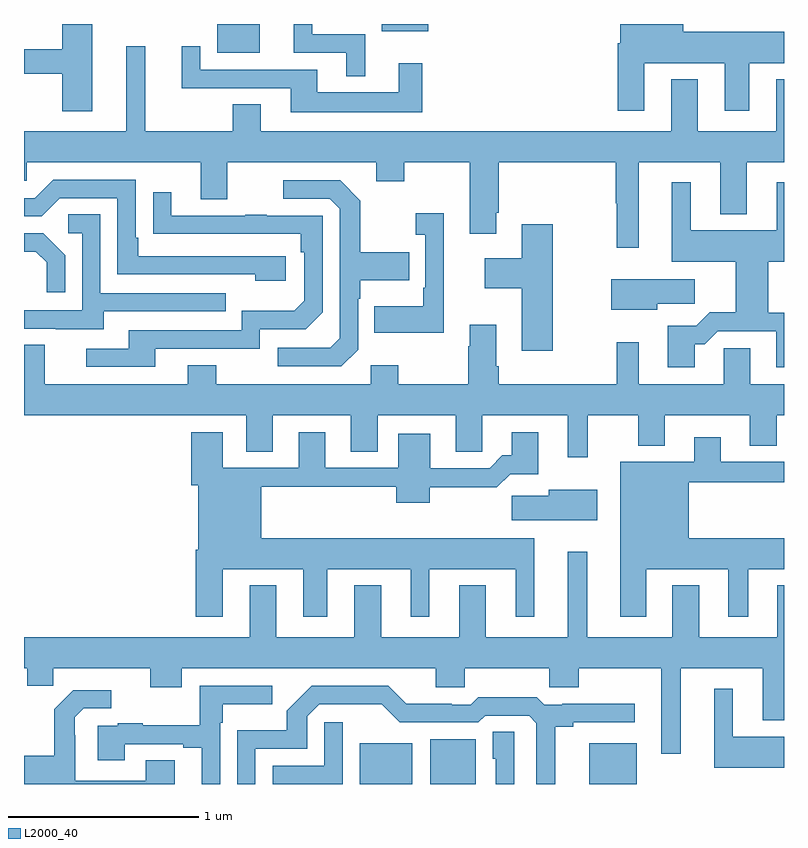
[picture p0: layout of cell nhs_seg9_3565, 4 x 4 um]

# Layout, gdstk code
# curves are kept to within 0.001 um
import gdstk
lib = gdstk.Library(unit=1e-6, precision=1e-09)
def R(c, l, rs):  # rectangles x0, y0, x1, y1
    for r in rs: c.add(gdstk.rectangle(r[:2], r[2:], *l))
def P(c, l, *ps):  # polygons
    for p in ps: c.add(gdstk.Polygon(p, *l))
L2000_40 = (2000, 40)

nhs_seg9_3565 = lib.new_cell('nhs_seg9_3565')
R(nhs_seg9_3565, L2000_40, [(316.766,1174.5,317.044,1174.714), (317.138,1174.5,317.377,1174.735), (317.975,1174.5,318.226,1174.714), (316.016,1178.348,316.24,1178.5), (316.883,1178.462,317.128,1178.5)])
P(nhs_seg9_3565, L2000_40, [(318.265,1178.294),(318.689,1178.294),(318.689,1178.043),(318.817,1178.043),(318.817,1178.294),(319,1178.294),(319,1178.458),(318.469,1178.458),(318.469,1178.5),(318.137,1178.5),(318.137,1178.398),(318.125,1178.398),(318.125,1178.043),(318.265,1178.043)],
  [(316.795,1178.445),(316.518,1178.445),(316.518,1178.5),(316.421,1178.5),(316.421,1178.349),(316.697,1178.349),(316.697,1178.225),(316.795,1178.225)],
  [(315.358,1178.5),(315.2,1178.5),(315.2,1178.366),(315,1178.366),(315,1178.238),(315.2,1178.238),(315.2,1178.04),(315.358,1178.04)],
  [(318.235,1177.772),(318.665,1177.772),(318.665,1177.499),(318.805,1177.499),(318.805,1177.772),(319,1177.772),(319,1178.209),(318.959,1178.209),(318.959,1177.936),(318.547,1177.936),(318.547,1178.209),(318.407,1178.209),(318.407,1177.936),(316.246,1177.936),(316.246,1178.078),(316.099,1178.078),(316.099,1177.936),(315.638,1177.936),(315.638,1178.383),(315.539,1178.383),(315.539,1177.936),(315,1177.936),(315,1177.674),(315.015,1177.674),(315.015,1177.772),(315.929,1177.772),(315.929,1177.578),(316.069,1177.578),(316.069,1177.772),(316.853,1177.772),(316.853,1177.673),(317.001,1177.673),(317.001,1177.772),(317.345,1177.772),(317.345,1177.395),(317.485,1177.395),(317.485,1177.507),(317.498,1177.507),(317.498,1177.772),(318.114,1177.772),(318.114,1177.556),(318.121,1177.556),(318.121,1177.323),(318.235,1177.323)],
  [(317.095,1178.293),(316.973,1178.293),(316.973,1178.14),(316.543,1178.14),(316.543,1178.259),(315.927,1178.259),(315.927,1178.383),(315.83,1178.383),(315.83,1178.163),(316.403,1178.163),(316.403,1178.036),(317.095,1178.036)],
  [(316.378,1177.278),(315.601,1177.278),(315.601,1177.375),(315.588,1177.375),(315.588,1177.68),(315.153,1177.68),(315.057,1177.584),(315,1177.584),(315,1177.488),(315.093,1177.488),(315.189,1177.584),(315.492,1177.584),(315.492,1177.182),(316.217,1177.182),(316.217,1177.148),(316.378,1177.148)],
  [(316.758,1176.786),(316.758,1177.055),(316.771,1177.055),(316.771,1177.151),(317.027,1177.151),(317.027,1177.299),(316.771,1177.299),(316.771,1177.571),(316.665,1177.677),(316.365,1177.677),(316.365,1177.581),(316.608,1177.581),(316.662,1177.527),(316.662,1176.846),(316.611,1176.795),(316.335,1176.795),(316.335,1176.699),(316.671,1176.699)],
  [(318.529,1176.815),(318.584,1176.815),(318.651,1176.882),(318.959,1176.882),(318.959,1176.693),(319,1176.693),(319,1176.98),(318.917,1176.98),(318.917,1177.25),(319,1177.25),(319,1177.666),(318.962,1177.666),(318.962,1177.414),(318.508,1177.414),(318.508,1177.666),(318.41,1177.666),(318.41,1177.25),(318.746,1177.25),(318.746,1176.983),(318.608,1176.983),(318.538,1176.913),(318.389,1176.913),(318.389,1176.693),(318.529,1176.693)],
  [(315.691,1176.792),(316.242,1176.792),(316.242,1176.894),(316.482,1176.894),(316.572,1176.984),(316.572,1177.491),(316.277,1177.491),(316.277,1177.496),(316.165,1177.496),(316.165,1177.491),(315.775,1177.491),(315.775,1177.615),(315.679,1177.615),(315.679,1177.396),(316.456,1177.395),(316.456,1177.298),(316.476,1177.298),(316.476,1177.044),(316.423,1176.991),(316.146,1176.991),(316.146,1176.888),(315.551,1176.888),(315.551,1176.792),(315.327,1176.792),(315.327,1176.696),(315.691,1176.696)],
  [(317.21,1177.504),(317.061,1177.504),(317.061,1177.391),(317.112,1177.391),(317.112,1177.111),(317.1,1177.111),(317.1,1177.015),(316.843,1177.015),(316.843,1176.875),(317.21,1176.875)],
  [(315.421,1176.987),(316.061,1176.987),(316.061,1177.083),(315.402,1177.083),(315.402,1177.499),(315.234,1177.499),(315.234,1177.398),(315.306,1177.398),(315.306,1176.993),(315,1176.993),(315,1176.897),(315.167,1176.897),(315.167,1176.893),(315.421,1176.893)],
  [(317.784,1177.447),(317.621,1177.447),(317.621,1177.267),(317.424,1177.267),(317.424,1177.109),(317.621,1177.109),(317.621,1176.78),(317.784,1176.78)],
  [(315.216,1177.282),(315.1,1177.398),(315,1177.398),(315,1177.302),(315.062,1177.302),(315.119,1177.245),(315.119,1177.089),(315.216,1177.089)],
  [(318.334,1177.027),(318.529,1177.027),(318.529,1177.156),(318.09,1177.156),(318.09,1176.995),(318.334,1176.995)],
  [(317.968,1176.44),(318.233,1176.44),(318.233,1176.281),(318.373,1176.281),(318.373,1176.44),(318.821,1176.44),(318.821,1176.28),(318.961,1176.28),(318.961,1176.44),(319,1176.44),(319,1176.604),(318.823,1176.604),(318.823,1176.794),(318.684,1176.794),(318.684,1176.604),(318.235,1176.604),(318.235,1176.826),(318.121,1176.826),(318.121,1176.604),(317.498,1176.604),(317.498,1176.7),(317.485,1176.7),(317.485,1176.916),(317.345,1176.916),(317.345,1176.803),(317.338,1176.803),(317.338,1176.604),(316.971,1176.604),(316.971,1176.703),(316.824,1176.703),(316.824,1176.604),(316.011,1176.604),(316.011,1176.703),(315.863,1176.703),(315.863,1176.604),(315.109,1176.604),(315.109,1176.812),(315,1176.812),(315,1176.44),(316.169,1176.44),(316.169,1176.25),(316.309,1176.25),(316.309,1176.44),(316.721,1176.44),(316.721,1176.25),(316.861,1176.25),(316.861,1176.44),(317.273,1176.44),(317.273,1176.25),(317.412,1176.25),(317.412,1176.44),(317.861,1176.44),(317.861,1176.219),(317.968,1176.219)],
  [(316.045,1175.63),(316.469,1175.63),(316.469,1175.379),(316.597,1175.379),(316.597,1175.63),(317.036,1175.63),(317.036,1175.379),(317.134,1175.379),(317.134,1175.63),(317.588,1175.63),(317.588,1175.379),(317.686,1175.379),(317.686,1175.794),(316.249,1175.794),(316.249,1176.064),(316.958,1176.064),(316.958,1175.981),(317.136,1175.981),(317.136,1176.062),(317.489,1176.062),(317.558,1176.131),(317.707,1176.131),(317.707,1176.352),(317.567,1176.352),(317.567,1176.229),(317.518,1176.229),(317.451,1176.162),(317.137,1176.162),(317.137,1176.343),(316.97,1176.343),(316.97,1176.165),(316.585,1176.165),(316.585,1176.352),(316.445,1176.352),(316.445,1176.165),(316.045,1176.165),(316.045,1176.352),(315.881,1176.352),(315.881,1176.072),(315.917,1176.072),(315.917,1175.734),(315.905,1175.734),(315.905,1175.379),(316.045,1175.379)],
  [(318.274,1175.63),(318.707,1175.63),(318.707,1175.379),(318.811,1175.379),(318.811,1175.63),(319,1175.63),(319,1175.794),(318.499,1175.794),(318.499,1176.087),(319,1176.087),(319,1176.195),(318.667,1176.195),(318.667,1176.325),(318.527,1176.325),(318.527,1176.196),(318.137,1176.196),(318.137,1175.379),(318.274,1175.379)],
  [(318.016,1176.049),(317.762,1176.049),(317.762,1176.017),(317.568,1176.017),(317.568,1175.888),(318.016,1175.888)],
  [(316.879,1175.545),(316.739,1175.545),(316.739,1175.272),(316.327,1175.272),(316.327,1175.545),(316.187,1175.545),(316.187,1175.272),(315,1175.272),(315,1175.108),(315.017,1175.108),(315.017,1175.018),(315.155,1175.018),(315.155,1175.108),(315.665,1175.108),(315.665,1175.009),(315.829,1175.009),(315.829,1175.108),(317.168,1175.108),(317.168,1175.01),(317.319,1175.01),(317.319,1175.108),(317.764,1175.108),(317.764,1175.01),(317.919,1175.01),(317.919,1175.108),(318.353,1175.108),(318.353,1174.659),(318.457,1174.659),(318.457,1175.108),(318.887,1175.108),(318.887,1174.835),(319,1174.835),(319,1175.545),(318.965,1175.545),(318.965,1175.272),(318.553,1175.272),(318.553,1175.545),(318.413,1175.545),(318.413,1175.272),(317.965,1175.272),(317.965,1175.722),(317.861,1175.722),(317.861,1175.272),(317.431,1175.272),(317.431,1175.545),(317.291,1175.545),(317.291,1175.272),(316.879,1175.272)],
  [(316.032,1174.823),(316.045,1174.823),(316.045,1174.919),(316.306,1174.919),(316.306,1175.016),(315.924,1175.016),(315.924,1174.808),(315.625,1174.808),(315.625,1174.819),(315.493,1174.819),(315.493,1174.806),(315.389,1174.806),(315.389,1174.626),(315.529,1174.626),(315.529,1174.71),(315.839,1174.71),(315.839,1174.692),(315.935,1174.692),(315.935,1174.5),(316.032,1174.5)],
  [(316.218,1174.686),(316.491,1174.686),(316.491,1174.857),(316.554,1174.92),(316.883,1174.919),(316.977,1174.824),(317.391,1174.824),(317.427,1174.86),(317.658,1174.86),(317.697,1174.821),(317.697,1174.5),(317.795,1174.5),(317.795,1174.802),(317.89,1174.802),(317.89,1174.824),(318.214,1174.824),(318.214,1174.922),(317.833,1174.922),(317.833,1174.917),(317.739,1174.917),(317.699,1174.957),(317.392,1174.957),(317.352,1174.917),(317.252,1174.917),(317.252,1174.922),(317.012,1174.922),(316.917,1175.016),(316.514,1175.016),(316.384,1174.886),(316.384,1174.783),(316.122,1174.783),(316.122,1174.5),(316.218,1174.5)],
  [(319,1174.75),(318.73,1174.75),(318.73,1175.002),(318.632,1175.002),(318.632,1174.586),(319,1174.586)],
  [(315.793,1174.625),(315.641,1174.625),(315.641,1174.516),(315.27,1174.516),(315.27,1174.757),(315.268,1174.757),(315.268,1174.852),(315.315,1174.899),(315.46,1174.899),(315.46,1174.993),(315.259,1174.993),(315.159,1174.893),(315.159,1174.648),(315,1174.648),(315,1174.5),(315.793,1174.5)],
  [(316.677,1174.825),(316.581,1174.825),(316.581,1174.596),(316.308,1174.596),(316.308,1174.5),(316.677,1174.5)],
  [(317.58,1174.775),(317.468,1174.775),(317.468,1174.632),(317.484,1174.632),(317.484,1174.5),(317.58,1174.5)])

lib.write_gds('nhs_seg9_3565.gds')
